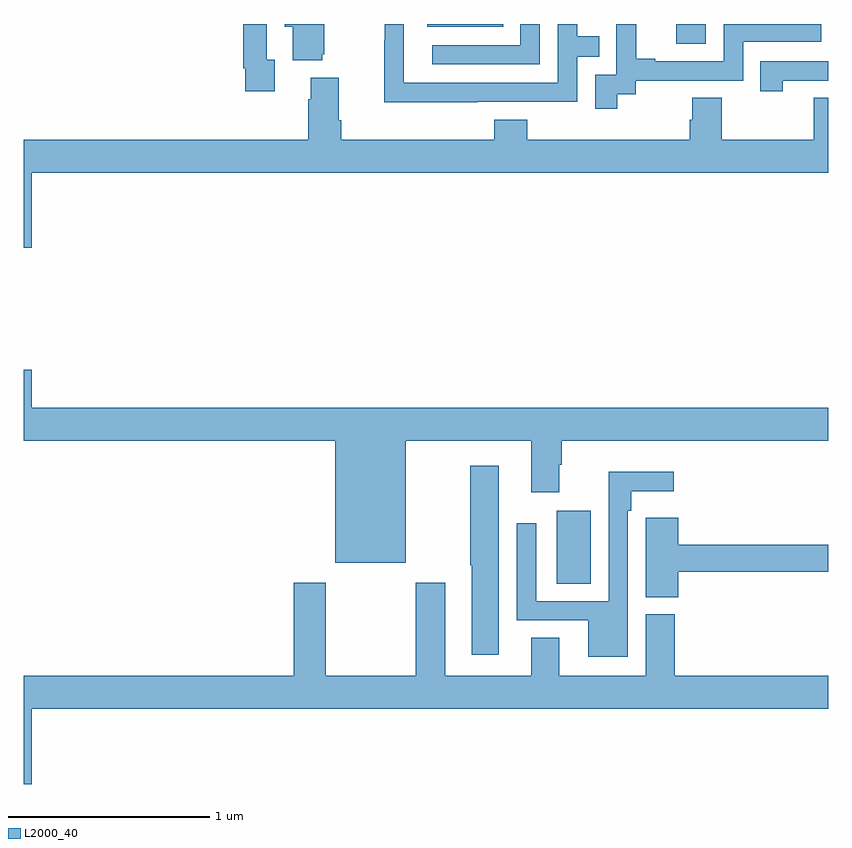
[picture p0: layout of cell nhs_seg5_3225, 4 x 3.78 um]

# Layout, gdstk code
import gdstk
lib = gdstk.Library(unit=1e-6, precision=1e-09)
def R(c, l, rs):  # rectangles x0, y0, x1, y1
    for r in rs: c.add(gdstk.rectangle(r[:2], r[2:], *l))
def P(c, l, *ps):  # polygons
    for p in ps: c.add(gdstk.Polygon(p, *l))
L2000_40 = (2000, 40)

nhs_seg5_3225 = lib.new_cell('nhs_seg5_3225')
R(nhs_seg5_3225, L2000_40, [(299.651,888.016,299.818,888.379), (300.243,890.7,300.39,890.799), (299.006,890.786,299.384,890.799)])
P(nhs_seg5_3225, L2000_40, [(299.95,890.449),(300.042,890.449),(300.042,890.517),(300.576,890.517),(300.576,890.712),(300.965,890.712),(300.965,890.799),(300.48,890.799),(300.48,890.613),(300.139,890.613),(300.139,890.626),(300.044,890.626),(300.044,890.799),(299.945,890.799),(299.945,890.777),(299.946,890.777),(299.946,890.547),(299.841,890.547),(299.841,890.379),(299.95,890.379)],
  [(298.249,890.622),(298.209,890.622),(298.209,890.799),(298.093,890.799),(298.093,890.578),(298.101,890.578),(298.101,890.466),(298.249,890.466)],
  [(299.565,890.799),(299.469,890.799),(299.469,890.694),(299.031,890.694),(299.031,890.598),(299.565,890.598)],
  [(298.484,890.649),(298.495,890.649),(298.495,890.799),(298.298,890.799),(298.298,890.786),(298.337,890.786),(298.337,890.618),(298.484,890.618)],
  [(299.255,890.412),(299.751,890.412),(299.751,890.637),(299.861,890.637),(299.861,890.738),(299.751,890.738),(299.751,890.799),(299.655,890.799),(299.655,890.508),(298.89,890.508),(298.89,890.799),(298.794,890.799),(298.794,890.717),(298.792,890.717),(298.792,890.411),(299.255,890.411)],
  [(300.772,890.517),(301,890.517),(301,890.613),(300.661,890.613),(300.661,890.466),(300.772,890.466)],
  [(301,890.432),(300.928,890.432),(300.928,890.224),(300.471,890.224),(300.471,890.432),(300.323,890.432),(300.323,890.322),(300.311,890.322),(300.311,890.224),(299.504,890.224),(299.504,890.323),(299.339,890.323),(299.339,890.224),(298.58,890.224),(298.58,890.32),(298.567,890.32),(298.567,890.533),(298.427,890.533),(298.427,890.426),(298.415,890.426),(298.415,890.224),(297,890.224),(297,889.686),(297.04,889.686),(297.04,890.06),(301,890.06)],
  [(298.9,888.728),(299.522,888.728),(299.522,888.471),(299.662,888.471),(299.662,888.608),(299.675,888.608),(299.675,888.728),(301,888.728),(301,888.892),(297.04,888.892),(297.04,889.081),(297,889.081),(297,888.728),(298.55,888.728),(298.55,888.122),(298.9,888.122)],
  [(299.362,888.604),(299.221,888.604),(299.221,888.109),(299.228,888.109),(299.228,887.664),(299.362,887.664)],
  [(300.003,888.38),(300.019,888.38),(300.019,888.476),(300.232,888.476),(300.232,888.574),(299.907,888.574),(299.907,887.931),(299.547,887.931),(299.547,888.319),(299.451,888.319),(299.451,887.835),(299.807,887.835),(299.807,887.654),(300.003,887.654)],
  [(300.254,888.076),(301,888.076),(301,888.212),(300.254,888.212),(300.254,888.346),(300.093,888.346),(300.093,888.233),(300.092,888.233),(300.092,887.95),(300.254,887.95)],
  [(297.04,887.396),(301,887.396),(301,887.56),(300.236,887.56),(300.236,887.865),(300.092,887.865),(300.092,887.56),(299.662,887.56),(299.662,887.75),(299.522,887.75),(299.522,887.56),(299.095,887.56),(299.095,888.022),(298.948,888.022),(298.948,887.56),(298.503,887.56),(298.503,888.022),(298.343,888.022),(298.343,887.56),(297,887.56),(297,887.022),(297.04,887.022)])

lib.write_gds('nhs_seg5_3225.gds')
